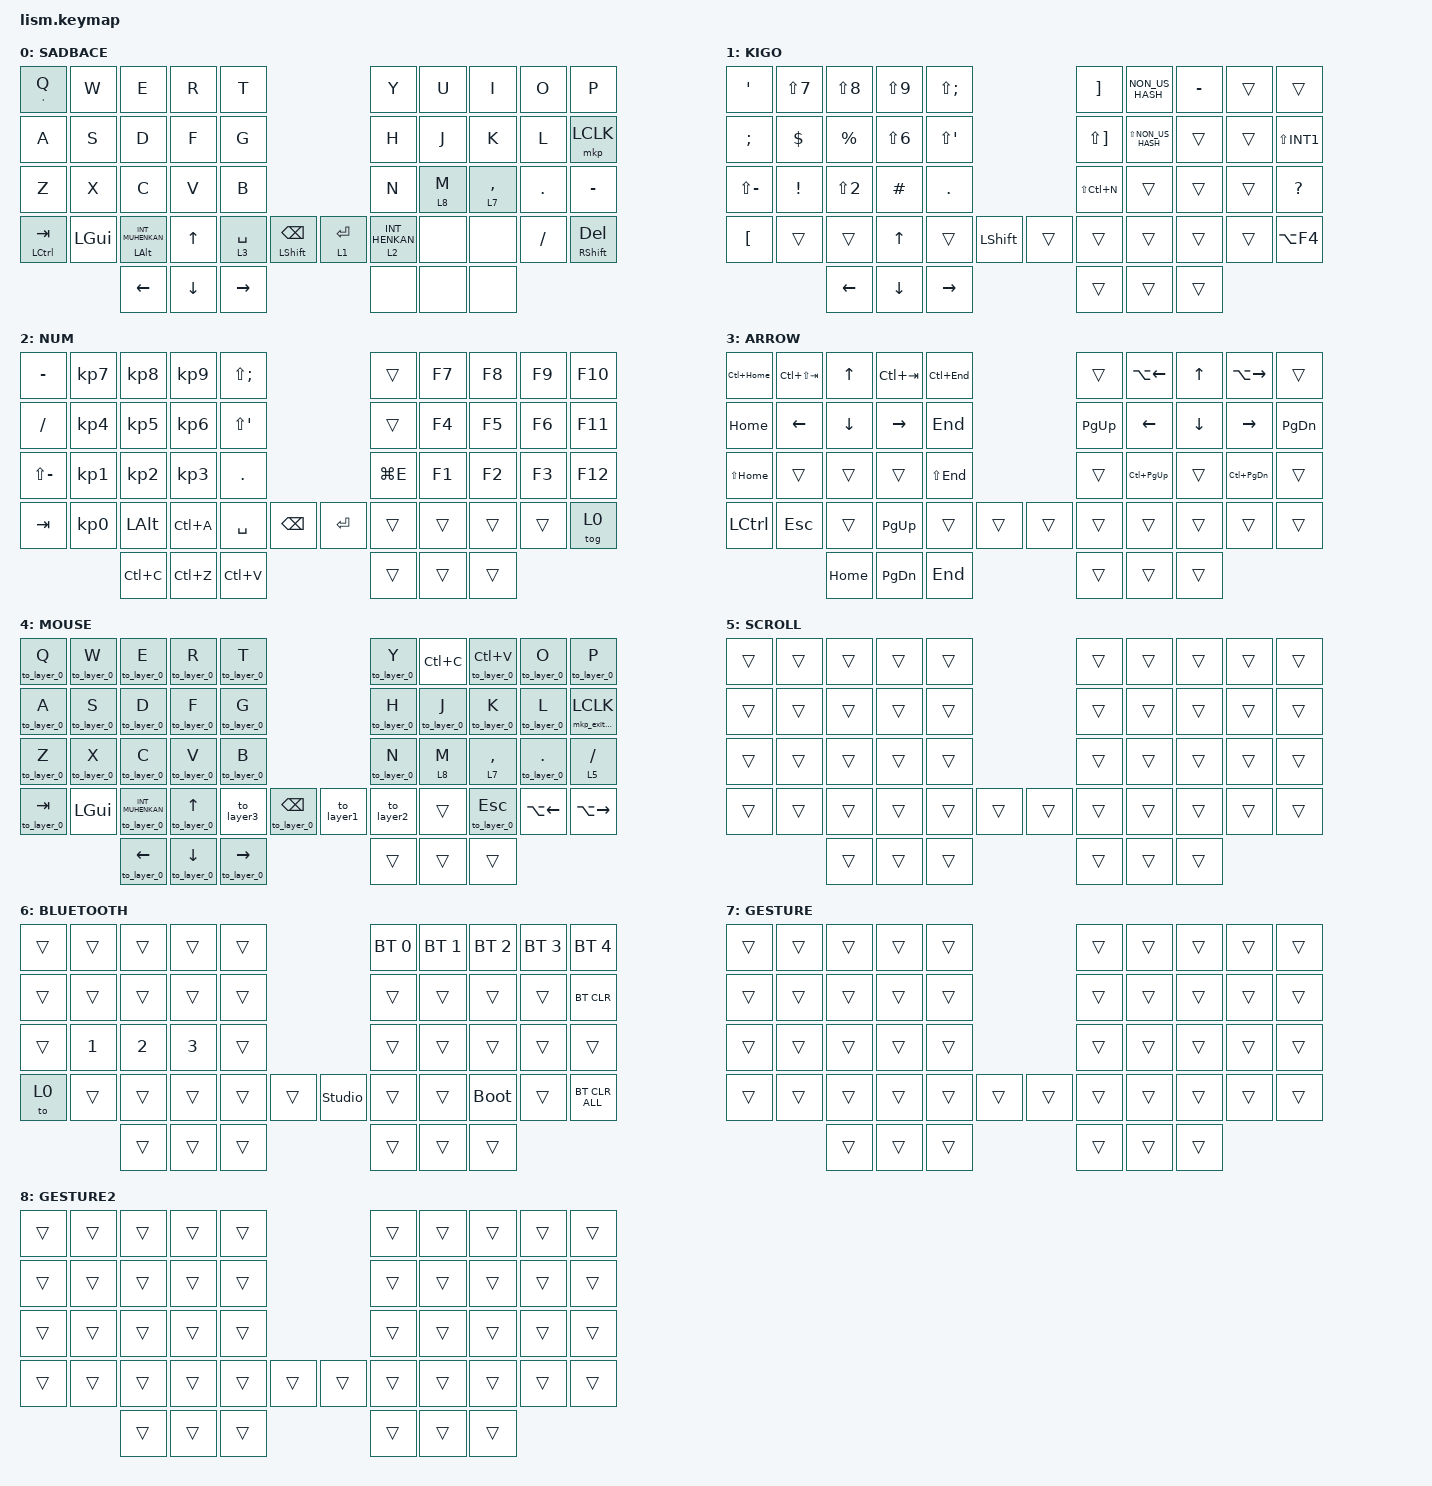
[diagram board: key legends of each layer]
#define ZMK_POINTING_DEFAULT_SCRL_VAL 80

#include <mouse-gesture.dtsi>
#include <behaviors.dtsi>
#include <dt-bindings/zmk/bt.h>
#include <dt-bindings/zmk/keys.h>
#include <dt-bindings/zmk/pointing.h>

// roBa の配置をベースに LisM 用に移植
// 左手: 4way スティック（Peripheral） / 右手: トラックボール（Central）
//
// キー位置番号:
//   0  1  2  3  4          5  6  7  8  9
//  10 11 12 13 14         15 16 17 18 19
//  20 21 22 23 24         25 26 27 28 29
//  30 31 32 (33) 34 35  36 37 (38) 39 40 41     33=スティック上 / 38=未使用
//     (42)(43)(44)          (45)(46)(47)        42=左 43=下 44=右 / 45-47=未使用
//
// レイヤー:
//   0 SADBACE / 1 KIGO / 2 NUM / 3 ARROW / 4 MOUSE（自動）/ 5 SCROLL
//   6 BLUETOOTH / 7 GESTURE（画面操作）/ 8 GESTURE2（編集操作）
//
// JIS 配列（OS 側が日本語キーボード設定）前提のキーコードで記述している。
// Keymap Editor は US 表記で表示するため、記号は表示と出力が異なる:
//   @ = LEFT_BRACKET     [ = RIGHT_BRACKET     ] = NON_US_HASH
//   { = LS(RIGHT_BRACKET) } = LS(NON_US_HASH)  : = SQT    * = LS(SQT)
//   = = LS(MINUS)        + = LS(SEMICOLON)     ^ = EQUAL  ~ = LS(EQUAL)
//   " = LS(N2)  & = LS(N6)  ' = LS(N7)  ( = LS(N8)  ) = LS(N9)
//   _ = LS(INT1)  \ = INT1  ¥ = INT3  | = LS(INT3)  ` = LS(LEFT_BRACKET)
// 実際の出力は keymap-drawer/lism.svg（JIS 表記で描画）で確認する。

&mt {
    flavor = "balanced";
    quick-tap-ms = <0>;
};

&sl { release-after-ms = <250>; };

/ {
    combos {
        compatible = "zmk,combos";

        kyu-kei {
            bindings = <&kp LG(L)>;
            key-positions = <8 9>;
        };

        num {
            bindings = <&tog 2>;
            key-positions = <27 28 29>;
        };

        BT1 {
            bindings = <&bt BT_SEL 1>;
            key-positions = <5 6>;
        };

        BT2 {
            bindings = <&bt BT_SEL 2>;
            key-positions = <15 16>;
        };

        gaemnido {
            bindings = <&kp LG(LS(LEFT_ARROW))>;
            key-positions = <4 14>;
        };

        psc {
            bindings = <&kp PRINTSCREEN>;
            key-positions = <30 31>;
        };

        psct {
            bindings = <&kp LG(LS(S))>;
            key-positions = <20 21>;
        };

        zengamen {
            bindings = <&kp LG(UP_ARROW)>;
            key-positions = <5 15>;
        };

        rightclike {
            bindings = <&mkp RCLK>;
            key-positions = <19 18>;
        };

        bt {
            bindings = <&mo 6>;
            key-positions = <2 3 4>;
        };

        layer5 {
            bindings = <&mo 5>;
            key-positions = <17 18>;
        };
    };

    macros {
        to_layer_0: to_layer_0 {
            compatible = "zmk,behavior-macro-one-param";
            #binding-cells = <1>;
            bindings = <&to 0 &macro_param_1to1 &kp MACRO_PLACEHOLDER>;
            label = "TO_LAYER_0";
        };

        to_layer1: to_layer1 {
            compatible = "zmk,behavior-macro";
            #binding-cells = <0>;
            bindings =
                <&macro_tap>,
                <&to 1>,
                <&macro_pause_for_release>,
                <&macro_tap>,
                <&to 0>;

            label = "TO_LAYER1";
        };

        to_layer2: to_layer2 {
            compatible = "zmk,behavior-macro";
            #binding-cells = <0>;
            bindings =
                <&macro_tap>,
                <&to 2>,
                <&macro_pause_for_release>,
                <&macro_tap>,
                <&to 0>;

            label = "TO_LAYER2";
        };

        to_layer3: to_layer3 {
            compatible = "zmk,behavior-macro";
            #binding-cells = <0>;
            bindings =
                <&macro_tap>,
                <&to 3>,
                <&macro_pause_for_release>,
                <&macro_tap>,
                <&to 0>;

            label = "TO_LAYER3";
        };

        kakko: kakko {
            compatible = "zmk,behavior-macro";
            #binding-cells = <0>;
            bindings = <&kp INT_HENKAN &kp LS(N8) &kp LS(N9) &kp LEFT>;
            label = "KAKKO";
        };

        mkp_exit_AML: mkp_exit_AML {
            compatible = "zmk,behavior-macro-one-param";
            #binding-cells = <1>;
            bindings =
                <&macro_press>,
                <&macro_param_1to1 &mkp MACRO_PLACEHOLDER>,
                <&macro_pause_for_release>,
                <&macro_release>,
                <&macro_param_1to1 &mkp MACRO_PLACEHOLDER>,
                <&macro_tap>,
                <&sl 4>;

            label = "MKP_EXIT_AML";
        };
    };

    behaviors {
        lt_to_layer_0: lt_to_layer_0 {
            compatible = "zmk,behavior-hold-tap";
            label = "LAYER_TAP_TO_0";
            bindings = <&mo>, <&to_layer_0>;

            #binding-cells = <2>;
            tapping-term-ms = <200>;
        };
    };

    layer_listeners {
        compatible = "zmk,layer-listeners";

        gesture_on_l7 {
            layers = <7>;
            bindings = <&mouse_gesture_on &mouse_gesture_off>;
        };

        gesture_on_l8 {
            layers = <8>;
            bindings = <&mouse_gesture_on &mouse_gesture_off>;
        };
    };

    keymap {
        compatible = "zmk,keymap";

        default_layer {
            display-name = "SADBACE";
            bindings = <
&mt SQT Q      &kp W         &kp E                      &kp R         &kp T                                             &kp Y             &kp U    &kp I        &kp O       &kp P
&kp A          &kp S         &kp D                      &kp F         &kp G                                             &kp H             &kp J    &kp K        &kp L       &mkp LCLK
&kp Z          &kp X         &kp C                      &kp V         &kp B                                             &kp N             &lt 8 M  &lt 7 COMMA  &kp PERIOD  &kp MINUS
&mt LCTRL TAB  &kp LEFT_GUI  &mt LEFT_ALT INT_MUHENKAN  &kp UP_ARROW  &lt 3 SPACE  &mt LSHIFT BACKSPACE    &lt 1 ENTER  &lt 2 INT_HENKAN  &none    &none        &kp SLASH   &mt RSHIFT DELETE
                             &kp LEFT                   &kp DOWN      &kp RIGHT                                         &none             &none    &none
            >;
        };

        KIGO {
            display-name = "KIGO";
            bindings = <
&kp SQT           &kp LS(N7)       &kp LS(N8)   &kp LS(N9)      &kp LS(SEMICOLON)                            &kp RIGHT_BRACKET      &kp NON_US_HASH      &kp MINUS  &trans  &trans
&kp SEMICOLON     &kp DOLLAR       &kp PERCENT  &kp LS(N6)      &kp LS(SQT)                                  &kp LS(RIGHT_BRACKET)  &kp LS(NON_US_HASH)  &trans     &trans  &kp LS(INT1)
&kp LS(MINUS)     &kp EXCLAMATION  &kp LS(N2)   &kp HASH        &kp PERIOD                                   &kp LS(LC(N))          &trans               &trans     &trans  &kp QMARK
&kp LEFT_BRACKET  &trans           &trans       &kp UP_ARROW    &trans             &kp LEFT_SHIFT    &trans  &trans                 &trans               &trans     &trans  &kp LA(F4)
                                   &kp LEFT     &kp DOWN_ARROW  &kp RIGHT_ARROW                              &trans                 &trans               &trans
            >;
        };

        NUM {
            display-name = "NUM";
            bindings = <
&kp MINUS      &kp KP_NUMBER_7  &kp KP_NUMBER_8  &kp KP_NUMBER_9  &kp LS(SEMICOLON)                              &trans     &kp F7  &kp F8  &kp F9  &kp F10
&kp SLASH      &kp KP_NUMBER_4  &kp KP_NUMBER_5  &kp KP_NUMBER_6  &kp LS(SQT)                                    &trans     &kp F4  &kp F5  &kp F6  &kp F11
&kp LS(MINUS)  &kp KP_NUMBER_1  &kp KP_NUMBER_2  &kp KP_NUMBER_3  &kp PERIOD                                     &kp LG(E)  &kp F1  &kp F2  &kp F3  &kp F12
&kp TAB        &kp KP_NUMBER_0  &kp LEFT_ALT     &kp LC(A)        &kp SPACE          &kp BACKSPACE    &kp ENTER  &trans     &trans  &trans  &trans  &tog 0
                                &kp LC(C)        &kp LC(Z)        &kp LC(V)                                      &trans     &trans  &trans
            >;
        };

        ARROW {
            display-name = "ARROW";
            bindings = <
&kp LC(HOME)  &kp LC(LS(TAB))  &kp UP_ARROW    &kp LC(TAB)      &kp LC(END)                    &trans       &kp LA(LEFT_ARROW)  &kp UP_ARROW  &kp LA(RIGHT_ARROW)  &trans
&kp HOME      &kp LEFT_ARROW   &kp DOWN_ARROW  &kp RIGHT_ARROW  &kp END                        &kp PAGE_UP  &kp LEFT            &kp DOWN      &kp RIGHT            &kp PAGE_DOWN
&kp LS(HOME)  &trans           &trans          &trans           &kp LS(END)                    &trans       &kp LC(PAGE_UP)     &trans        &kp LC(PAGE_DOWN)    &trans
&kp LCTRL     &kp ESCAPE       &trans          &kp PAGE_UP      &trans       &trans    &trans  &trans       &trans              &trans        &trans               &trans
                               &kp HOME        &kp PAGE_DOWN    &kp END                        &trans       &trans              &trans
            >;
        };

        MOUSE {
            display-name = "MOUSE";
            bindings = <
&to_layer_0 Q    &to_layer_0 W  &to_layer_0 E             &to_layer_0 R     &to_layer_0 T                                           &to_layer_0 Y  &kp LC(C)           &to_layer_0 LC(V)       &to_layer_0 O       &to_layer_0 P
&to_layer_0 A    &to_layer_0 S  &to_layer_0 D             &to_layer_0 F     &to_layer_0 G                                           &to_layer_0 H  &to_layer_0 J       &to_layer_0 K           &to_layer_0 L       &mkp_exit_AML LCLK
&to_layer_0 Z    &to_layer_0 X  &to_layer_0 C             &to_layer_0 V     &to_layer_0 B                                           &to_layer_0 N  &lt_to_layer_0 8 M  &lt_to_layer_0 7 COMMA  &to_layer_0 PERIOD  &lt_to_layer_0 5 SLASH
&to_layer_0 TAB  &kp LEFT_GUI   &to_layer_0 INT_MUHENKAN  &to_layer_0 UP    &to_layer3         &to_layer_0 BACKSPACE    &to_layer1  &to_layer2     &trans              &to_layer_0 ESCAPE      &kp LA(LEFT)        &kp LA(RIGHT)
                                &to_layer_0 LEFT          &to_layer_0 DOWN  &to_layer_0 RIGHT                                       &trans         &trans              &trans
            >;
        };

        SCROLL {
            display-name = "SCROLL";
            bindings = <
&trans  &trans  &trans  &trans  &trans                    &trans  &trans  &trans  &trans  &trans
&trans  &trans  &trans  &trans  &trans                    &trans  &trans  &trans  &trans  &trans
&trans  &trans  &trans  &trans  &trans                    &trans  &trans  &trans  &trans  &trans
&trans  &trans  &trans  &trans  &trans  &trans    &trans  &trans  &trans  &trans  &trans  &trans
                &trans  &trans  &trans                    &trans  &trans  &trans
            >;
        };

        BLUETOOTH {
            display-name = "BLUETOOTH";
            bindings = <
&trans  &trans        &trans        &trans        &trans                            &bt BT_SEL 0  &bt BT_SEL 1  &bt BT_SEL 2  &bt BT_SEL 3  &bt BT_SEL 4
&trans  &trans        &trans        &trans        &trans                            &trans        &trans        &trans        &trans        &bt BT_CLR
&trans  &kp NUMBER_1  &kp NUMBER_2  &kp NUMBER_3  &trans                            &trans        &trans        &trans        &trans        &trans
&to 0   &trans        &trans        &trans        &trans  &trans    &studio_unlock  &trans        &trans        &bootloader   &trans        &bt BT_CLR_ALL
                      &trans        &trans        &trans                            &trans        &trans        &trans
            >;
        };

        GESTURE {
            display-name = "GESTURE";
            bindings = <
&trans  &trans  &trans  &trans  &trans                    &trans  &trans  &trans  &trans  &trans
&trans  &trans  &trans  &trans  &trans                    &trans  &trans  &trans  &trans  &trans
&trans  &trans  &trans  &trans  &trans                    &trans  &trans  &trans  &trans  &trans
&trans  &trans  &trans  &trans  &trans  &trans    &trans  &trans  &trans  &trans  &trans  &trans
                &trans  &trans  &trans                    &trans  &trans  &trans
            >;
        };

        GESTURE2 {
            display-name = "GESTURE2";
            bindings = <
&trans  &trans  &trans  &trans  &trans                    &trans  &trans  &trans  &trans  &trans
&trans  &trans  &trans  &trans  &trans                    &trans  &trans  &trans  &trans  &trans
&trans  &trans  &trans  &trans  &trans                    &trans  &trans  &trans  &trans  &trans
&trans  &trans  &trans  &trans  &trans  &trans    &trans  &trans  &trans  &trans  &trans  &trans
                &trans  &trans  &trans                    &trans  &trans  &trans
            >;
        };
    };
};

// レイヤー7: 画面・ウィンドウ操作ジェスチャー

&zip_mouse_gesture {
    stroke-size = <200>;
    enable-eager-mode;
    idle-timeout-ms = <150>;
    gesture-cooldown-ms = <300>;

    // 上下は実機の操作感に合わせて入れ替え済み（下=Win+D / 上=Win+Tab）

    task_view {
        pattern = <GESTURE_DOWN>;
        bindings = <&kp LG(D)>;
    };

    show_desk {
        pattern = <GESTURE_UP>;
        bindings = <&kp LG(TAB)>;
    };

    vdesk_prev {
        pattern = <GESTURE_LEFT>;
        bindings = <&kp LG(LC(RIGHT))>;
    };

    vdesk_next {
        pattern = <GESTURE_RIGHT>;
        bindings = <&kp LG(LC(LEFT))>;
    };
};

/ {
    // レイヤー8: 編集操作ジェスチャー

    zip_mouse_gesture_l8: zip_mouse_gesture_l8 {
        compatible = "zmk,input-processor-mouse-gesture";
        #input-processor-cells = <0>;
        enable-eager-mode;
        stroke-size = <200>;
        idle-timeout-ms = <150>;
        gesture-cooldown-ms = <300>;

        select_all {
            pattern = <GESTURE_UP>;
            bindings = <&kp LC(A)>;
        };

        undo {
            pattern = <GESTURE_DOWN>;
            bindings = <&kp LC(Z)>;
        };

        copy {
            pattern = <GESTURE_LEFT>;
            bindings = <&kp LC(C)>;
        };

        paste {
            pattern = <GESTURE_RIGHT>;
            bindings = <&kp LC(V)>;
        };
    };
};
